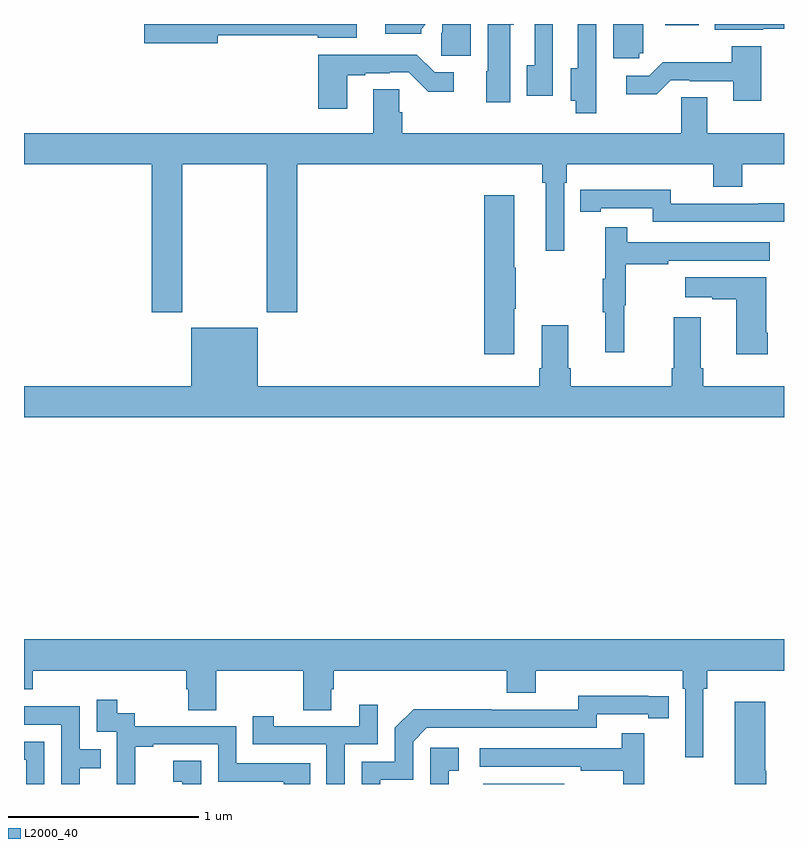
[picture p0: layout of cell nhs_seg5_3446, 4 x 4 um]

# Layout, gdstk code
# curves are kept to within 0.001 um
import gdstk
lib = gdstk.Library(unit=1e-6, precision=1e-09)
def R(c, l, rs):  # rectangles x0, y0, x1, y1
    for r in rs: c.add(gdstk.rectangle(r[:2], r[2:], *l))
def P(c, l, *ps):  # polygons
    for p in ps: c.add(gdstk.Polygon(p, *l))
L2000_40 = (2000, 40)

nhs_seg5_3446 = lib.new_cell('nhs_seg5_3446')
R(nhs_seg5_3446, L2000_40, [(315.416,886.799,315.844,886.801), (316.374,890.792,316.551,890.799)])
P(nhs_seg5_3446, L2000_40, [(314.02,890.74),(314.546,890.74),(314.546,890.726),(314.752,890.726),(314.752,890.799),(313.632,890.799),(313.632,890.698),(314.02,890.698)],
  [(316.012,890.55),(316.011,890.55),(316.011,890.799),(315.914,890.799),(315.914,890.567),(315.878,890.567),(315.878,890.396),(315.903,890.396),(315.903,890.328),(316.012,890.328)],
  [(315.784,890.799),(315.687,890.799),(315.687,890.582),(315.647,890.582),(315.647,890.421),(315.784,890.421)],
  [(315.559,890.796),(315.577,890.796),(315.577,890.799),(315.44,890.799),(315.44,890.55),(315.434,890.55),(315.434,890.388),(315.559,890.388)],
  [(315.09,890.772),(315.112,890.794),(315.112,890.799),(314.9,890.799),(314.9,890.747),(315.09,890.747)],
  [(315.352,890.799),(315.2,890.799),(315.2,890.754),(315.196,890.754),(315.196,890.631),(315.352,890.631)],
  [(316.239,890.646),(316.258,890.646),(316.258,890.799),(316.1,890.799),(316.1,890.619),(316.239,890.619)],
  [(316.89,890.774),(317,890.774),(317,890.799),(316.636,890.799),(316.636,890.768),(316.89,890.768)],
  [(316.881,890.683),(316.726,890.683),(316.726,890.599),(316.363,890.599),(316.29,890.526),(316.17,890.526),(316.17,890.429),(316.331,890.429),(316.404,890.502),(316.504,890.502),(316.504,890.499),(316.733,890.499),(316.733,890.394),(316.881,890.394)],
  [(314.701,890.529),(314.797,890.529),(314.797,890.541),(314.924,890.541),(314.924,890.544),(315.024,890.544),(315.127,890.442),(315.262,890.442),(315.262,890.544),(315.162,890.544),(315.068,890.638),(314.549,890.638),(314.549,890.352),(314.701,890.352)],
  [(313.833,890.06),(314.278,890.06),(314.278,889.281),(314.438,889.281),(314.438,890.06),(315.727,890.06),(315.727,889.964),(315.746,889.964),(315.746,889.605),(315.843,889.605),(315.843,889.964),(315.857,889.964),(315.857,890.06),(316.628,890.06),(316.628,889.943),(316.781,889.943),(316.781,890.06),(317,890.06),(317,890.224),(316.597,890.224),(316.597,890.414),(316.458,890.414),(316.458,890.224),(314.99,890.224),(314.99,890.334),(314.976,890.334),(314.976,890.456),(314.837,890.456),(314.837,890.224),(313,890.224),(313,890.06),(313.673,890.06),(313.673,889.281),(313.833,889.281)],
  [(317,889.856),(316.864,889.856),(316.864,889.854),(316.404,889.854),(316.404,889.927),(316.036,889.927),(316.036,889.926),(315.928,889.926),(315.928,889.81),(316.036,889.81),(316.036,889.83),(316.308,889.83),(316.308,889.758),(317,889.758)],
  [(315.58,889.3),(315.588,889.3),(315.588,889.517),(315.58,889.517),(315.58,889.897),(315.422,889.897),(315.422,889.062),(315.58,889.062)],
  [(316.16,889.32),(316.168,889.32),(316.168,889.534),(316.391,889.534),(316.391,889.554),(316.924,889.554),(316.924,889.65),(316.175,889.65),(316.175,889.729),(316.058,889.729),(316.058,889.457),(316.047,889.457),(316.047,889.283),(316.058,889.283),(316.058,889.071),(316.16,889.071)],
  [(316.914,889.174),(316.906,889.174),(316.906,889.465),(316.479,889.465),(316.479,889.361),(316.622,889.361),(316.622,889.351),(316.748,889.351),(316.748,889.062),(316.914,889.062)],
  [(317,888.892),(316.574,888.892),(316.574,888.988),(316.561,888.988),(316.561,889.255),(316.421,889.255),(316.421,888.988),(316.409,888.988),(316.409,888.892),(315.878,888.892),(315.878,888.988),(315.865,888.988),(315.865,889.213),(315.725,889.213),(315.725,888.988),(315.713,888.988),(315.713,888.892),(314.23,888.892),(314.23,889.201),(313.88,889.201),(313.88,888.892),(313,888.892),(313,888.728),(317,888.728)],
  [(316.576,887.3),(316.595,887.3),(316.595,887.396),(317,887.396),(317,887.56),(313,887.56),(313,887.297),(313.046,887.297),(313.046,887.396),(313.853,887.396),(313.853,887.298),(313.865,887.298),(313.865,887.188),(314.013,887.188),(314.013,887.396),(314.47,887.396),(314.47,887.188),(314.617,887.188),(314.617,887.298),(314.63,887.298),(314.63,887.396),(315.542,887.396),(315.542,887.279),(315.694,887.279),(315.694,887.396),(316.466,887.396),(316.466,887.3),(316.479,887.3),(316.479,886.941),(316.576,886.941)],
  [(314.875,886.821),(315.048,886.821),(315.048,887.022),(315.12,887.094),(316.014,887.094),(316.014,887.166),(316.286,887.166),(316.286,887.146),(316.394,887.146),(316.394,887.262),(315.918,887.263),(315.918,887.19),(315.458,887.19),(315.458,887.192),(315.05,887.192),(314.952,887.094),(314.952,886.917),(314.778,886.917),(314.778,886.799),(314.875,886.799)],
  [(313.586,886.995),(313.681,886.995),(313.681,887.007),(314.022,887.007),(314.022,886.812),(314.367,886.812),(314.367,886.799),(314.507,886.799),(314.507,886.908),(314.118,886.908),(314.118,887.103),(313.584,887.103),(313.584,887.172),(313.492,887.172),(313.492,887.242),(313.383,887.242),(313.383,887.073),(313.488,887.073),(313.488,886.844),(313.487,886.844),(313.487,886.799),(313.586,886.799)],
  [(316.906,886.869),(316.901,886.869),(316.901,887.233),(316.742,887.233),(316.742,886.799),(316.906,886.799)],
  [(314.688,887.007),(314.862,887.007),(314.862,887.215),(314.765,887.215),(314.765,887.103),(314.314,887.103),(314.314,887.155),(314.203,887.155),(314.203,887.007),(314.592,887.007),(314.592,886.799),(314.688,886.799)],
  [(313.293,886.882),(313.403,886.882),(313.403,886.983),(313.293,886.983),(313.293,887.208),(313,887.208),(313,887.112),(313.197,887.112),(313.197,886.799),(313.293,886.799)],
  [(316.265,887.065),(316.147,887.065),(316.147,886.986),(315.399,886.986),(315.399,886.89),(315.931,886.89),(315.931,886.87),(316.155,886.87),(316.155,886.799),(316.265,886.799)],
  [(313.107,887.022),(313,887.022),(313,886.926),(313.011,886.926),(313.011,886.799),(313.107,886.799)],
  [(315.236,886.869),(315.289,886.869),(315.289,886.99),(315.138,886.99),(315.138,886.799),(315.236,886.799)],
  [(313.932,886.921),(313.785,886.921),(313.785,886.811),(313.834,886.811),(313.834,886.799),(313.932,886.799)])

lib.write_gds('nhs_seg5_3446.gds')
